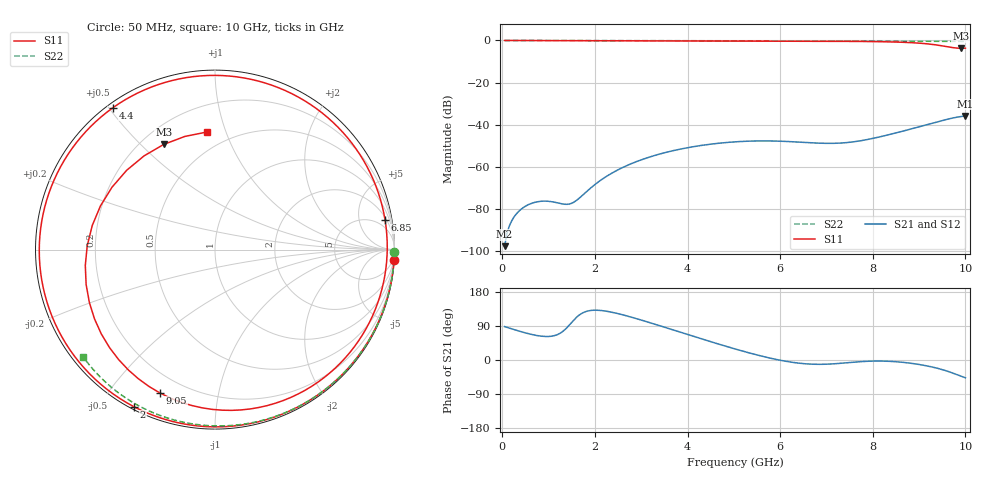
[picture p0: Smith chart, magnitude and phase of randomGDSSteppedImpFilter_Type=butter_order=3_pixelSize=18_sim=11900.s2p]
! freq	dB(S11)	phase(S11)	dB(S12)	phase(S12)
!  dB(S21)	phase(S21)	dB(S22)	phase(S22)
!S-par simulation data
#  GHz  S  DB  R 50
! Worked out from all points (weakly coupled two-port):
!   200 points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, 50 MHz to 10 GHz, reference 50 ohm
!   highest |S21| = -35.83 dB at 10 GHz (marker M1); lowest = -97.5 dB at 50 MHz (marker M2)
!   lowest |S11| = -3.7 dB at 9.9 GHz (marker M3), VSWR 4.75, Z = 14.4 + j29.4 ohm
!   |S11| at or under -10 dB: nowhere
!   |S22| runs from -0.5 to 0.0 dB; largest |S21 - S12| = 0
!   S11 on the Smith chart (normalised r, x): 50 MHz: 0, -36; 2 GHz: 0.01, -0.61; 4.4 GHz: 0.02, +0.51; 6.85 GHz: 3, +11; 9.05 GHz: 0.11, -0.68; 10 GHz: 0.37, +0.86
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0.05  -0.00 -3.2  -97.53 88.1  -97.53 88.1  -0.00 -0.8
0.45  -0.04 -28.1  -79.29 73.2  -79.29 73.2  -0.01 -7.3
0.95  -0.07 -58.4  -76.18 62.0  -76.18 62.0  -0.02 -15.3
1.45  -0.10 -87.3  -77.54 92.7  -77.54 92.7  -0.03 -23.3
1.75  -0.12 -103.9  -73.04 125.2  -73.04 125.2  -0.04 -28.1
2  -0.13 -117.2  -68.31 131.4  -68.31 131.4  -0.04 -32.0
2.7  -0.16 -152.8  -59.22 116.0  -59.22 116.0  -0.05 -42.8
3.4  -0.19 173.2  -53.84 90.4  -53.84 90.4  -0.07 -53.3
4.4  -0.23 125.6  -49.45 52.1  -49.45 52.1  -0.10 -67.9
5.05  -0.26 94.7  -48.03 28.4  -48.03 28.4  -0.12 -77.1
5.8  -0.28 59.0  -47.65 4.5  -47.65 4.5  -0.15 -87.4
6.7  -0.33 16.8  -48.55 -11.1  -48.55 -11.1  -0.19 -99.3
6.85  -0.34 9.8  -48.70 -11.4  -48.70 -11.4  -0.20 -101.3
7.6  -0.43 -25.1  -48.01 -5.6  -48.01 -5.6  -0.25 -110.9
8.35  -0.67 -62.9  -44.66 -3.5  -44.66 -3.5  -0.31 -120.3
8.75  -0.96 -87.5  -42.41 -7.5  -42.41 -7.5  -0.34 -125.3
9.05  -1.35 -111.0  -40.65 -12.8  -40.65 -12.8  -0.37 -129.0
9.3  -1.91 -137.1  -39.16 -19.0  -39.16 -19.0  -0.40 -132.0
9.55  -2.76 -173.0  -37.69 -27.2  -37.69 -27.2  -0.42 -135.1
9.7  -3.31 159.1  -36.90 -33.3  -36.90 -33.3  -0.44 -137.0
9.9  -3.72 116.0  -36.09 -42.5  -36.09 -42.5  -0.46 -139.4
10  -3.66 94.0  -35.83 -47.0  -35.83 -47.0  -0.47 -140.7
